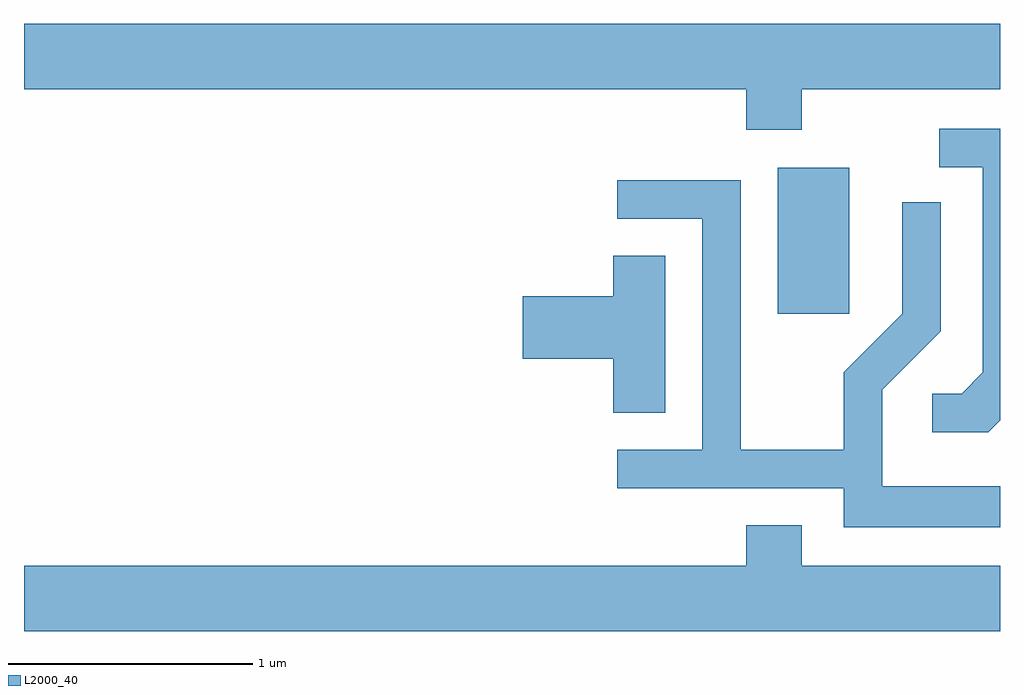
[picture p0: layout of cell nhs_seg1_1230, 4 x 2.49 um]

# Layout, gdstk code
import gdstk
lib = gdstk.Library(unit=1e-6, precision=1e-09)
def R(c, l, rs):  # rectangles x0, y0, x1, y1
    for r in rs: c.add(gdstk.rectangle(r[:2], r[2:], *l))
def P(c, l, *ps):  # polygons
    for p in ps: c.add(gdstk.Polygon(p, *l))
L2000_40 = (2000, 40)

nhs_seg1_1230 = lib.new_cell('nhs_seg1_1230')
R(nhs_seg1_1230, L2000_40, [(226.701,867.576,226.994,868.174)])
P(nhs_seg1_1230, L2000_40, [(226.799,868.496),(227.611,868.496),(227.611,868.764),(223.611,868.764),(223.611,868.496),(226.571,868.496),(226.571,868.331),(226.799,868.331)],
  [(227.611,867.14),(227.611,868.334),(227.363,868.334),(227.363,868.176),(227.541,868.176),(227.541,867.337),(227.454,867.249),(227.333,867.249),(227.333,867.091),(227.562,867.091)],
  [(227.611,866.869),(227.129,866.869),(227.129,867.264),(227.369,867.504),(227.369,868.033),(227.211,868.033),(227.211,867.577),(226.971,867.337),(226.971,867.019),(226.549,867.019),(226.549,868.124),(226.043,868.124),(226.043,867.966),(226.391,867.966),(226.391,867.019),(226.043,867.019),(226.043,866.861),(226.971,866.861),(226.971,866.701),(227.611,866.701)],
  [(226.239,867.814),(226.026,867.814),(226.026,867.649),(225.656,867.649),(225.656,867.391),(226.026,867.391),(226.026,867.171),(226.239,867.171)],
  [(227.611,866.544),(226.799,866.544),(226.799,866.709),(226.571,866.709),(226.571,866.544),(223.611,866.544),(223.611,866.276),(227.611,866.276)])

lib.write_gds('nhs_seg1_1230.gds')
